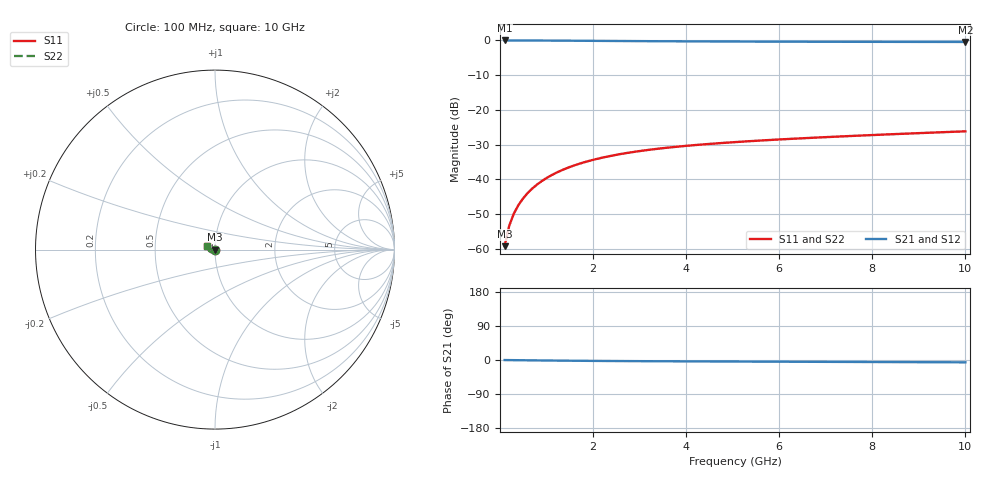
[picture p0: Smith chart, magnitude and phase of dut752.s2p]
! Touchstone file exported from HFSS 2024.1.0
!  File:  C:/UserFiles/LocalFiles/RDL_TSV_Batchsim/temp_TSV1_752_1779871392.aedt
!  Generated:  04:49:26 PM May 27, 2026
!  Design:  TSV1
!  Project:  temp_TSV1_752_1779871392
!  Setup:  Setup1
!  Solution:  Sweep
! Variables:
!  dtsv = 8.54um
!  hbump = 3um
!  htsv = 93.34um
!  lrdl = 252.1521522um
!  p = 40
!  p1 = 59.6um
!  t = 500um
!  trdl = 3um
!  wrdl = 24.89489489um
# GHz S MA R 50.000000
! Terminal data exported
! Port[1] = TSV22_T1
! Port[2] = TSV22_T2
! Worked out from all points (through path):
!   100 points, 100 MHz to 10 GHz, reference 50 ohm
!   highest |S21| = 0.00 dB at 100 MHz (marker M1); lowest = -0.4 dB at 10 GHz (marker M2)
!   lowest |S11| = -59.2 dB at 100 MHz (marker M3), VSWR 1.00, Z = 50 - j0.108 ohm
!   |S11| at or under -10 dB: start of sweep to end of sweep
!   |S22| runs from -59.2 to -26.1 dB; largest |S21 - S12| = 5.5e-15
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0.1  0.001099 -80.8  0.9997 -0.1  0.9997 -0.1  0.001099 -80.8
! Gamma 0 0 0 0
! Port Impedance 50 0 50 0
0.2  0.00217 -88.5  0.9996 -0.3  0.9996 -0.3  0.00217 -88.5
0.3  0.003246 -92.6  0.9994 -0.4  0.9994 -0.4  0.003246 -92.6
0.4  0.004318 -95.7  0.9991 -0.5  0.9991 -0.5  0.004318 -95.7
0.5  0.005382 -98.5  0.9987 -0.7  0.9987 -0.7  0.005382 -98.5
0.6  0.006434 -101.1  0.9982 -0.8  0.9982 -0.8  0.006434 -101.1
0.7  0.007473 -103.5  0.9977 -0.9  0.9977 -0.9  0.007473 -103.5
0.8  0.008496 -105.9  0.9971 -1.1  0.9971 -1.1  0.008496 -105.9
0.9  0.009502 -108.2  0.9965 -1.2  0.9965 -1.2  0.009502 -108.2
1.1  0.01146 -112.6  0.9951 -1.4  0.9951 -1.4  0.01146 -112.6
1.4  0.01423 -118.9  0.9926 -1.8  0.9926 -1.8  0.01423 -118.9
1.6  0.01597 -122.9  0.9908 -2.0  0.9908 -2.0  0.01597 -122.9
1.8  0.01761 -126.7  0.9889 -2.2  0.9889 -2.2  0.01761 -126.7
2.1  0.0199 -132.2  0.9861 -2.4  0.9861 -2.4  0.0199 -132.2
2.5  0.02264 -139.0  0.9823 -2.7  0.9823 -2.7  0.02264 -139.0
2.9  0.02506 -145.3  0.9787 -3.0  0.9787 -3.0  0.02506 -145.3
3.4  0.02771 -152.5  0.9747 -3.3  0.9747 -3.3  0.02771 -152.5
4.2  0.03129 -162.6  0.9691 -3.7  0.9691 -3.7  0.03129 -162.6
5.1  0.03466 -172.3  0.9643 -4.1  0.9643 -4.1  0.03466 -172.3
6.7  0.03977 173.6  0.9582 -4.8  0.9582 -4.8  0.03977 173.6
8.4  0.04471 161.8  0.954 -5.5  0.954 -5.5  0.04471 161.8
10  0.04928 152.8  0.9513 -6.2  0.9513 -6.2  0.04928 152.8
